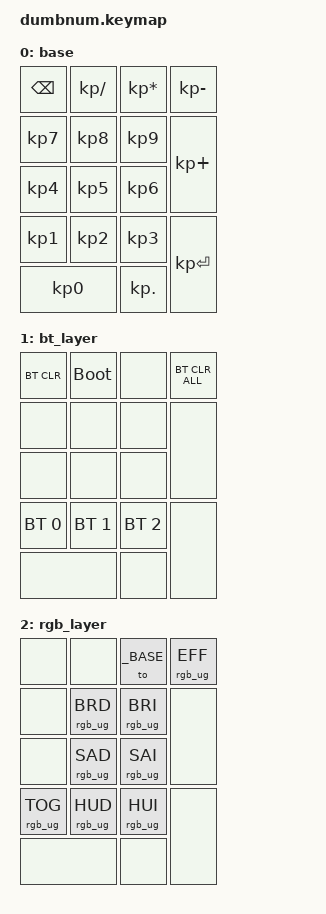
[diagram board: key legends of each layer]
#include <dt-bindings/zmk/keys.h>
#include <dt-bindings/zmk/bt.h>
#include <behaviors.dtsi>
#include <dt-bindings/zmk/rgb.h>


#define _BASE 0
#define _BT 1
#define _RGB 2

/ {
    combos {
        compatible = "zmk,combos";
        combo_bt {
            timeout-ms = <50>;
            key-positions = <0 3>;
            bindings = <&sl _BT>;
        };

        combo_rgb {
            timeout-ms = <50>;
            key-positions = <0 2>;
            bindings = <&to _RGB>;
        };
    };

    keymap {
        compatible = "zmk,keymap";
        base {
            bindings = <
                &kp BACKSPACE &kp KP_SLASH &kp KP_ASTERISK &kp KP_MINUS
                &kp KP_N7 &kp KP_N8 &kp KP_N9 &kp KP_PLUS
                &kp KP_N4 &kp KP_N5 &kp KP_N6
                &kp KP_N1 &kp KP_N2 &kp KP_N3 &kp KP_ENTER
                &kp KP_N0 &kp KP_DOT       
            >;
        };

        bt_layer {
            bindings = <
                &bt BT_CLR &bootloader &none &bt BT_CLR_ALL
                &none &none &none &none
                &none &none &none
                &bt BT_SEL 0 &bt BT_SEL 1 &bt BT_SEL 2 &none
                &none &none
            >;
        };

        rgb_layer {
            bindings = <
                &none &none &to _BASE &rgb_ug RGB_EFF
                &none &rgb_ug RGB_BRD &rgb_ug RGB_BRI &none
                &none &rgb_ug RGB_SAD &rgb_ug RGB_SAI
                &rgb_ug RGB_TOG &rgb_ug RGB_HUD &rgb_ug RGB_HUI &none
                &none &none
            >;
        };
    };
};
